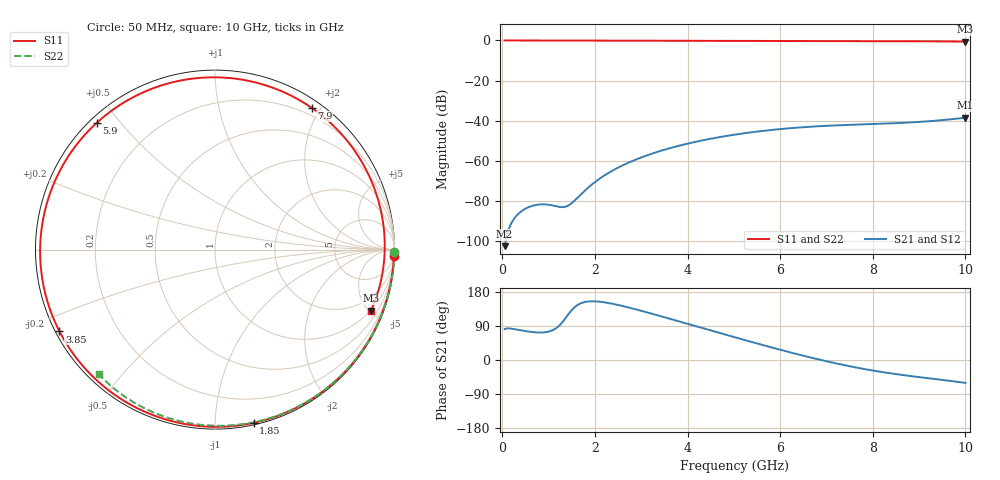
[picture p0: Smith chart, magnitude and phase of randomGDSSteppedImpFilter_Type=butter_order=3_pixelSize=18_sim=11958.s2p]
! freq	dB(S11)	phase(S11)	dB(S12)	phase(S12)
!  dB(S21)	phase(S21)	dB(S22)	phase(S22)
!S-par simulation data
#  GHz  S  DB  R 50
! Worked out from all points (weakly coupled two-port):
!   200 points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, 50 MHz to 10 GHz, reference 50 ohm
!   highest |S21| = -38.49 dB at 10 GHz (marker M1); lowest = -102.4 dB at 50 MHz (marker M2)
!   lowest |S11| = -0.6 dB at 10 GHz (marker M3), VSWR 28.55, Z = 49 - j255 ohm
!   |S11| at or under -10 dB: nowhere
!   |S22| runs from -0.4 to 0.0 dB; largest |S21 - S12| = 0
!   S11 on the Smith chart (normalised r, x): 50 MHz: 4, -52; 1.85 GHz: 0.01, -1.25; 3.85 GHz: 0.01, -0.25; 5.9 GHz: 0.02, +0.43; 7.9 GHz: 0.10, +1.89; 10 GHz: 0.98, -5.10
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0.05  -0.02 -2.2  -102.43 81.4  -102.43 81.4  -0.00 -0.8
0.4  -0.03 -17.3  -85.30 78.3  -85.30 78.3  -0.01 -6.1
0.75  -0.04 -32.2  -81.83 72.7  -81.83 72.7  -0.01 -11.4
1.15  -0.06 -49.0  -82.49 82.8  -82.49 82.8  -0.02 -17.5
1.55  -0.08 -65.4  -79.97 138.0  -79.97 138.0  -0.03 -23.5
1.75  -0.09 -73.5  -75.47 151.9  -75.47 151.9  -0.03 -26.5
1.85  -0.10 -77.4  -73.36 154.3  -73.36 154.3  -0.04 -28.0
2.15  -0.11 -89.2  -68.06 153.2  -68.06 153.2  -0.04 -32.4
2.5  -0.12 -102.6  -63.34 145.2  -63.34 145.2  -0.05 -37.5
2.95  -0.14 -119.5  -58.71 131.5  -58.71 131.5  -0.06 -44.0
3.4  -0.16 -136.0  -55.12 116.4  -55.12 116.4  -0.07 -50.4
3.85  -0.18 -152.2  -52.23 100.8  -52.23 100.8  -0.08 -56.7
4.45  -0.22 -173.8  -49.17 79.8  -49.17 79.8  -0.09 -64.9
5.05  -0.25 164.5  -46.80 59.0  -46.80 59.0  -0.11 -73.0
5.9  -0.30 133.0  -44.37 30.4  -44.37 30.4  -0.14 -84.0
6.7  -0.34 102.4  -42.90 5.3  -42.90 5.3  -0.18 -94.0
7.3  -0.37 79.0  -42.21 -11.4  -42.21 -11.4  -0.22 -101.4
7.9  -0.39 55.7  -41.72 -25.7  -41.72 -25.7  -0.26 -108.5
8.35  -0.41 38.6  -41.35 -34.5  -41.35 -34.5  -0.29 -113.8
8.8  -0.43 21.8  -40.86 -42.1  -40.86 -42.1  -0.33 -119.1
9.2  -0.46 7.3  -40.26 -48.1  -40.26 -48.1  -0.36 -123.7
10  -0.61 -21.4  -38.49 -60.5  -38.49 -60.5  -0.45 -132.9
